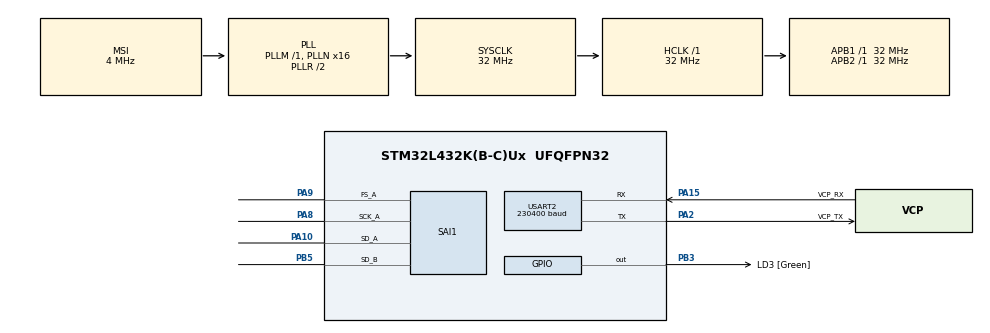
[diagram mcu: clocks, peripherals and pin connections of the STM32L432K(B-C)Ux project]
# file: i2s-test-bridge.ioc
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Mcu.Family=STM32L4
RCC.MSI_VALUE=4000000
RCC.CortexFreq_Value=32000000
SAI1.VirtualMode-SAI_A_AsyncSlave=VM_SLAVE
PA10.Mode=SAI_A_AsyncSlave
VP_SAI1_VP_$IpInstance_SAIA_SAI_BASIC.Mode=SAI_A_BASIC
PA0.GPIO_Label=MCO [High speed clock in]
SAI1.VirtualProtocol-SAI_A_BASIC=VM_BASIC_PROTOCOL
PC15-OSC32_OUT\ (PC15).Signal=RCC_OSC32_OUT
PA15\ (JTDI).Signal=USART2_RX
PB3\ (JTDO-TRACESWO).GPIO_Label=LD3 [Green]
PA14\ (JTCK-SWCLK).GPIO_Label=SWCLK
USART2.BaudRate=230400
RCC.SYSCLKSource=RCC_SYSCLKSOURCE_PLLCLK
ProjectManager.StackSize=0x400
PB3\ (JTDO-TRACESWO).Signal=GPIO_Output
SAI1.Instance-SAI_A_AsyncSlave=SAI$Index_Block_A
PA14\ (JTCK-SWCLK).Signal=SYS_JTCK-SWCLK
RCC.HSI16_VALUE=16000000
PA9.Mode=SAI_A_AsyncSlave
PA15\ (JTDI).Mode=Asynchronous
SAI1.VirtualMode-SAI_B_SyncSlave=VM_SLAVE
ProjectManager.TargetToolchain=STM32CubeIDE
RCC.HCLKFreq_Value=32000000
RCC.APB2TimFreq_Value=32000000
PA9.Signal=SAI1_FS_A
RCC.USBFreq_Value=32000000
RCC.LSE_VALUE=32768
RCC.AHBFreq_Value=32000000
VP_SAI1_VP_$IpInstance_SAIB_SAI_BASIC.Mode=SAI_B_BASIC
RCC.HSE_VALUE=8000000
board=NUCLEO-L432KC
USART2.VirtualMode-Asynchronous=VM_ASYNC
RCC.VCOOutputFreq_Value=64000000
RCC.PLLMUL=RCC_PLLMUL_4
RCC.APB2Freq_Value=32000000
PA13\ (JTMS-SWDIO).GPIO_Label=SWDIO
PB5.Mode=SAI_B_SyncSlave
RCC.ADCFreq_Value=32000000
PA8.Signal=SAI1_SCK_A
PA15\ (JTDI).GPIO_Label=VCP_RX
Mcu.Name=STM32L432K(B-C)Ux
PA2.Signal=USART2_TX
PA0.Signal=RCC_CK_IN
RCC.SYSCLKFreq_VALUE=32000000
Mcu.Package=UFQFPN32
PB5.Signal=SAI1_SD_B
PC14-OSC32_IN\ (PC14).Signal=RCC_OSC32_IN
SAI1.AudioMode-SAI_A_AsyncSlave=SAI_MODESLAVE_TX
PA2.GPIO_Label=VCP_TX
SAI1.Instance-SAI_B_SyncSlave=SAI$Index_Block_B
PA10.Signal=SAI1_SD_A
ProjectManager.HeapSize=0x200
RCC.HSI_VALUE=16000000
SAI1.InitProtocol-SAI_A_AsyncSlave=Enable
SAI1.VirtualProtocol-SAI_B_BASIC=VM_BASIC_PROTOCOL
NVIC.PriorityGroup=NVIC_PRIORITYGROUP_4
RCC.PLLN=16
RCC.APB1TimFreq_Value=32000000
PA2.Mode=Asynchronous
PA8.Mode=SAI_A_AsyncSlave
PA13\ (JTMS-SWDIO).Signal=SYS_JTMS-SWDIO
RCC.APB1Freq_Value=32000000
SAI1.InitProtocol-SAI_B_SyncSlave=Enable
RCC.HSI48_VALUE=48000000
RCC.PLLSAI1N=16

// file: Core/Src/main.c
/* USER CODE BEGIN Header */
/**
  ******************************************************************************
  * @file           : main.c
  * @brief          : Main program body
  ******************************************************************************
  * @attention
  *
  * <h2><center>&copy; Copyright (c) 2021 STMicroelectronics.
  * All rights reserved.</center></h2>
  *
  * This software component is licensed by ST under BSD 3-Clause license,
  * the "License"; You may not use this file except in compliance with the
  * License. You may obtain a copy of the License at:
  *                        opensource.org/licenses/BSD-3-Clause
  *
  ******************************************************************************
  */
/* USER CODE END Header */
#include "main.h"

/* USER CODE BEGIN Includes */
#include <stdio.h>
#include "SEGGER_RTT.h"
/* USER CODE END Includes */

SAI_HandleTypeDef hsai_BlockA1;
SAI_HandleTypeDef hsai_BlockB1;

UART_HandleTypeDef huart2;

void SystemClock_Config(void);
static void MX_GPIO_Init(void);
static void MX_SAI1_Init(void);
static void MX_USART2_UART_Init(void);

/* USER CODE BEGIN 0 */

#define I2S_FORWARDING_THRESHOLD_SAMPLES 60

// minimal ringbuffer with uin16_t values

#define RINGBUFFER_ELEMENTS 128

#define RINGBUFFER_MASK  (RINGBUFFER_ELEMENTS-1)

static uint16_t ringbuffer[RINGBUFFER_ELEMENTS];
static uint16_t ringbuffer_head;
static uint16_t ringbuffer_tail;

static void ringbuffer_init(void){
    ringbuffer_head = 0;
    ringbuffer_tail = 0;
}
static int ringbuffer_empty(void){
    return ringbuffer_head == ringbuffer_tail;
}
static int rinbuffer_avail(void){
    return (uint16_t) (ringbuffer_head - ringbuffer_tail);
}
static int ringbuffer_full(void){
    return (ringbuffer_head - ringbuffer_tail) == RINGBUFFER_MASK;
}
static void ringbuffer_put(uint16_t value){
    ringbuffer[ringbuffer_head& RINGBUFFER_MASK] = value;
    ringbuffer_head++;
}
static uint16_t ringbuffer_get(void){
    uint16_t value = ringbuffer[ringbuffer_tail & RINGBUFFER_MASK];
    ringbuffer_tail++;
    return value;
}

//

typedef  enum {
    IDLE,
    COUNTER,
    FORWARD,
    SINE_PCM_8K,
    SINE_PCM_16K,
    SINE_mSBC,
    SILENCE_PCM,
    SILENCE_mSBC,
} test_mode_t;

static test_mode_t i2s_tx_mode;
static test_mode_t uart_tx_mode;

typedef enum {
    I2S_LEFT_CHANNEL,
    I2S_RIGHT_CHANNEL,
    I2S_STEREO,
} i2s_channels_t;

static i2s_channels_t i2s_tx_channels = I2S_STEREO;

static enum {
    UART_TX_IDLE,
    UART_TX_SEND_HIGH,
    UART_TX_SEND_LOW,
} uart_tx_state = UART_TX_IDLE;

static enum {
    UART_RX_W4_HIGH,
    UART_RX_W4_LOW
} uart_rx_state = UART_RX_W4_HIGH;

// input signal: pre-computed sine wave, 266 Hz at 16000 Hz

static uint16_t i2s_tx_phase = 0;
static uint16_t uart_tx_phase = 0;

static const int16_t sine_int16_at_16000hz[] = {
        0,   3135,   6237,   9270,  12202,  14999,  17633,  20073,  22294,  24270,
        25980,  27406,  28531,  29344,  29835,  30000,  29835,  29344,  28531,  27406,
        25980,  24270,  22294,  20073,  17633,  14999,  12202,   9270,   6237,   3135,
        0,  -3135,  -6237,  -9270, -12202, -14999, -17633, -20073, -22294, -24270,
        -25980, -27406, -28531, -29344, -29835, -30000, -29835, -29344, -28531, -27406,
        -25980, -24270, -22294, -20073, -17633, -14999, -12202,  -9270,  -6237,  -3135,
};

// pre-encoded SCO mSBC packets with sine wave 266 Hz at 16000 Hz,
static const uint8_t sco_msbc_sine_data[] = {
        0x01, 0x08, 0xAD, 0x00, 0x00, 0x69, 0xE0, 0x21, 0x11, 0x00, 0x58, 0xEB, 0x91, 0x84, 0xEE,
        0xC8, 0xD1, 0x62, 0x8C, 0x6D, 0x7A, 0x95, 0x69, 0xBD, 0x23, 0xDC, 0x3C, 0xC9, 0x2E, 0xAD,
        0xCF, 0x7A, 0x6E, 0x24, 0xEA, 0x4D, 0x2F, 0x5B, 0x91, 0x42, 0xB6, 0x8D, 0x43, 0x3D, 0x6D,
        0x8A, 0x3C, 0xD1, 0xB1, 0xE0, 0x83, 0xCC, 0x7C, 0x79, 0x8A, 0x2B, 0x7E, 0x91, 0x30, 0x00,

        0x01, 0x38, 0xAD, 0x00, 0x00, 0x69, 0xE0, 0x21, 0x11, 0x00, 0x58, 0xEB, 0x91, 0x84, 0xEE,
        0xC8, 0xD1, 0x62, 0x8C, 0x6D, 0x7A, 0x95, 0x69, 0xBD, 0x23, 0xDC, 0x3C, 0xC9, 0x2E, 0xAD,
        0xCF, 0x7A, 0x6E, 0x24, 0xEA, 0x4D, 0x2F, 0x5B, 0x91, 0x42, 0xB6, 0x8D, 0x43, 0x3D, 0x6D,
        0x8A, 0x3C, 0xD1, 0xB1, 0xE0, 0x83, 0xCC, 0x7C, 0x79, 0x8A, 0x2B, 0x7E, 0x91, 0x30, 0x00,

        0x01, 0xC8, 0xAD, 0x00, 0x00, 0x69, 0xE0, 0x21, 0x11, 0x00, 0x58, 0xEB, 0x91, 0x84, 0xEE,
        0xC8, 0xD1, 0x62, 0x8C, 0x6D, 0x7A, 0x95, 0x69, 0xBD, 0x23, 0xDC, 0x3C, 0xC9, 0x2E, 0xAD,
        0xCF, 0x7A, 0x6E, 0x24, 0xEA, 0x4D, 0x2F, 0x5B, 0x91, 0x42, 0xB6, 0x8D, 0x43, 0x3D, 0x6D,
        0x8A, 0x3C, 0xD1, 0xB1, 0xE0, 0x83, 0xCC, 0x7C, 0x79, 0x8A, 0x2B, 0x7E, 0x91, 0x30, 0x00,

        0x01, 0xF8, 0xAD, 0x00, 0x00, 0x69, 0xE0, 0x21, 0x11, 0x00, 0x58, 0xEB, 0x91, 0x84, 0xEE,
        0xC8, 0xD1, 0x62, 0x8C, 0x6D, 0x7A, 0x95, 0x69, 0xBD, 0x23, 0xDC, 0x3C, 0xC9, 0x2E, 0xAD,
        0xCF, 0x7A, 0x6E, 0x24, 0xEA, 0x4D, 0x2F, 0x5B, 0x91, 0x42, 0xB6, 0x8D, 0x43, 0x3D, 0x6D,
        0x8A, 0x3C, 0xD1, 0xB1, 0xE0, 0x83, 0xCC, 0x7C, 0x79, 0x8A, 0x2B, 0x7E, 0x91, 0x30, 0x00,
};

// pre-encoded SCO mSBC packets with silence
static const uint8_t sco_msbc_silence_data[] = {
        0x01, 0x08, 0xAD, 0x00, 0x00, 0xC5, 0x00, 0x00, 0x00, 0x00, 0x77, 0x6D, 0xB6, 0xDD, 0xDB,
        0x6D, 0xB7, 0x76, 0xDB, 0x6D, 0xDD, 0xB6, 0xDB, 0x77, 0x6D, 0xB6, 0xDD, 0xDB, 0x6D, 0xB7,
        0x76, 0xDB, 0x6D, 0xDD, 0xB6, 0xDB, 0x77, 0x6D, 0xB6, 0xDD, 0xDB, 0x6D, 0xB7, 0x76, 0xDB,
        0x6D, 0xDD, 0xB6, 0xDB, 0x77, 0x6D, 0xB6, 0xDD, 0xDB, 0x6D, 0xB7, 0x76, 0xDB, 0x6C, 0x00,
        0x01, 0x38, 0xAD, 0x00, 0x00, 0xC5, 0x00, 0x00, 0x00, 0x00, 0x77, 0x6D, 0xB6, 0xDD, 0xDB,
        0x6D, 0xB7, 0x76, 0xDB, 0x6D, 0xDD, 0xB6, 0xDB, 0x77, 0x6D, 0xB6, 0xDD, 0xDB, 0x6D, 0xB7,
        0x76, 0xDB, 0x6D, 0xDD, 0xB6, 0xDB, 0x77, 0x6D, 0xB6, 0xDD, 0xDB, 0x6D, 0xB7, 0x76, 0xDB,
        0x6D, 0xDD, 0xB6, 0xDB, 0x77, 0x6D, 0xB6, 0xDD, 0xDB, 0x6D, 0xB7, 0x76, 0xDB, 0x6C, 0x00,
        0x01, 0xC8, 0xAD, 0x00, 0x00, 0xC5, 0x00, 0x00, 0x00, 0x00, 0x77, 0x6D, 0xB6, 0xDD, 0xDB,
        0x6D, 0xB7, 0x76, 0xDB, 0x6D, 0xDD, 0xB6, 0xDB, 0x77, 0x6D, 0xB6, 0xDD, 0xDB, 0x6D, 0xB7,
        0x76, 0xDB, 0x6D, 0xDD, 0xB6, 0xDB, 0x77, 0x6D, 0xB6, 0xDD, 0xDB, 0x6D, 0xB7, 0x76, 0xDB,
        0x6D, 0xDD, 0xB6, 0xDB, 0x77, 0x6D, 0xB6, 0xDD, 0xDB, 0x6D, 0xB7, 0x76, 0xDB, 0x6C, 0x00,
        0x01, 0xF8, 0xAD, 0x00, 0x00, 0xC5, 0x00, 0x00, 0x00, 0x00, 0x77, 0x6D, 0xB6, 0xDD, 0xDB,
        0x6D, 0xB7, 0x76, 0xDB, 0x6D, 0xDD, 0xB6, 0xDB, 0x77, 0x6D, 0xB6, 0xDD, 0xDB, 0x6D, 0xB7,
        0x76, 0xDB, 0x6D, 0xDD, 0xB6, 0xDB, 0x77, 0x6D, 0xB6, 0xDD, 0xDB, 0x6D, 0xB7, 0x76, 0xDB,
        0x6D, 0xDD, 0xB6, 0xDB, 0x77, 0x6D, 0xB6, 0xDD, 0xDB, 0x6D, 0xB7, 0x76, 0xDB, 0x6C, 0x00,
};

static void print_i2s_tx_mode(void){
    switch (i2s_tx_mode) {
        case FORWARD:
            printf("I2S TX:  Forward data from UART\n");
            break;
        case SINE_PCM_8K:
            printf("I2S TX:  Sine 266 Hz, 8 kHz, PCM\n");
            break;
        case SINE_PCM_16K:
            printf("I2S TX:  Sine 266 Hz, 16 kHz, PCM\n");
            break;
        case SINE_mSBC:
            printf("I2S TX:  Sine mSBC\n");
            break;
        case SILENCE_PCM:
            printf("I2S TX:  Silence PCM\n");
            break;
        case SILENCE_mSBC:
            printf("I2S TX:  Silence mSBC\n");
            break;
        default:
            break;
    }
}

static void print_i2s_tx_channels(void){
    switch (i2s_tx_channels){
        case I2S_LEFT_CHANNEL:
            printf("I2S TX:  TX on Channel 1 / left\n");
            break;
        case I2S_RIGHT_CHANNEL:
            printf("I2S TX:  TX on Channel 2 / right\n");
            break;
        case I2S_STEREO:
            printf("I2S TX:  TX on both channels\n");
            break;
        default:
            break;
    }
}

static void print_uart_tx_mode(void){
    switch (uart_tx_mode) {
        case COUNTER:
            printf("UART TX: Test Data Counter\n");
            break;
        case FORWARD:
            printf("UART TX: Forward data from I2S\n");
            break;
        case SINE_PCM_8K:
            printf("UART TX: Sine 266 Hz, 8 kHz, PCM\n");
            break;
        case SINE_PCM_16K:
            printf("UART TX: Sine 266 Hz, 16 kHz, PCM\n");
            break;
        case SINE_mSBC:
            printf("UART TX: Sine mSBC\n");
            break;
        case SILENCE_PCM:
            printf("UART TX: Silence CVSD\n");
            break;
        case SILENCE_mSBC:
            printf("UART TX: Silence mSBC\n");
            break;
        default:
            break;
    }
}

static void set_uart_tx_mode(test_mode_t mode){
    uart_tx_mode = mode;
    print_i2s_tx_mode();
}

static void handle_console_input(char c){
    switch (c) {
        // I2S TX
        case '1':
        case '2':
        case '3':
        case '4':
        case '5':
        case '6':
            i2s_tx_mode = (test_mode_t )(c - '1' + (int)FORWARD);
            print_i2s_tx_mode();
            break;
        // UART TX
        case 'a':
        case 'b':
        case 'c':
        case 'd':
        case 'e':
        case 'f':
        case 'g':
            uart_tx_mode = (test_mode_t )(c - 'a' + (int)FORWARD);
            print_uart_tx_mode();
            break;
        case '[':
            i2s_tx_channels = I2S_LEFT_CHANNEL;
            print_i2s_tx_channels();
            break;
        case ']':
            i2s_tx_channels = I2S_RIGHT_CHANNEL;
            print_i2s_tx_channels();
            break;
        case '-':
            i2s_tx_channels = I2S_STEREO;
            print_i2s_tx_channels();
            break;
        default:
            break;
    }
    i2s_tx_phase = 0;
    uart_tx_phase = 0;
}

/* USER CODE END 0 */

int main(void)
{

    /* MCU Configuration--------------------------------------------------------*/

    /* Reset of all peripherals, Initializes the Flash interface and the Systick. */
    HAL_Init();

    /* Configure the system clock */
    SystemClock_Config();

    /* Initialize all configured peripherals */
    MX_GPIO_Init();
    MX_SAI1_Init();
    MX_USART2_UART_Init();
    /* USER CODE BEGIN 2 */
    printf("\n\n");
    printf("=== I2S Test Bridge Console ===\n");
    printf("1 - I2S  TX Forward UART data\n");
    printf("2 - I2S  TX Sine    PCM   8 kHz/16 bit, 266 Hz\n");
    printf("3 - I2S  TX Sine    PCM  16 kHz/16 bit, 266 Hz\n");
    printf("4 - I2S  TX Sine    mSBC 16 kHz/16 bit, 266 Hz\n");
    printf("5 - I2S  TX Silence PCM         16 bit\n");
    printf("6 - I2S  TX Silence mSBC 16 kHz/16 bit\n");

    printf("[ = I2S  TX on Channel 1 / Left \n");
    printf("] = I2S  TX on Channel 2 / Right \n");
    printf("- = I2S  TX on both channels\n");

    printf("a - UART TX Forward Left I2S Channel data\n");
    printf("b - UART TX Sine    PCM   8 kHz/16 bit, 266 Hz\n");
    printf("c - UART TX Sine    PCM  16 kHz/16 bit, 266 Hz\n");
    printf("d - UART TX Sine    mSBC 16 kHz/16 bit, 266 Hz\n");
    printf("e - UART TX Silence PCM         16 bit\n");
    printf("f - UART TX Silence mSBC 16 kHz/16 bit\n");
    printf("g - UART TX Test Data Counter\n");

    // Default Config
    i2s_tx_mode  = FORWARD;
    uart_tx_mode = FORWARD;

    printf("---\n");
    print_i2s_tx_mode();
    print_i2s_tx_channels();
    print_uart_tx_mode();
    __HAL_SAI_ENABLE( &hsai_BlockA1);
    __HAL_SAI_ENABLE( &hsai_BlockB1);
    __HAL_UART_ENABLE(&huart2);
    /* USER CODE END 2 */

    /* Infinite loop */
    /* USER CODE BEGIN WHILE */
    uint8_t i2s_rx_left_frame = 1;
    uint8_t i2s_tx_left_frame = 1;
    uint16_t i2s_tx_value = 0;
    uint16_t uart_tx_value;
    uint16_t uart_rx_value;
    int      forwarding_active = 0;
    uint32_t last_i2s_rx_ms;

    while (1) {

        // RTT console
        int rtt_input = SEGGER_RTT_HasData(0);
        if (rtt_input > 0) {
            int rtt_key = SEGGER_RTT_GetKey();
            handle_console_input( (char) rtt_key);
        }

        // Receive from I2S
        if ((hsai_BlockB1.Instance->SR & SAI_xSR_FLVL) != SAI_FIFOSTATUS_EMPTY){
            last_i2s_rx_ms = HAL_GetTick();
            if (i2s_rx_left_frame) {
                uint32_t temp = hsai_BlockB1.Instance->DR;
                switch (uart_tx_mode){
                    case FORWARD:
                        uart_tx_value = (uint16_t) temp;
                        break;
                    case COUNTER:
                        uart_tx_value = uart_tx_phase;
                        uart_tx_phase++;
                        if (uart_tx_phase == 60){
                            uart_tx_phase = 0;
                        }
                        break;
                    case SINE_PCM_8K:
                        // 8 kHz, 16 bit
                        uart_tx_value = (uint16_t) sine_int16_at_16000hz[uart_tx_phase];
                        uart_tx_phase += 2;
                        if (uart_tx_phase >= (sizeof(sine_int16_at_16000hz) / sizeof(int16_t))){
                            uart_tx_phase = 0;
                        }
                        break;
                    case SINE_PCM_16K:
                        // 8 kHz, 16 bit
                        uart_tx_value = (uint16_t) sine_int16_at_16000hz[uart_tx_phase];
                        uart_tx_phase += 1;
                        if (uart_tx_phase >= (sizeof(sine_int16_at_16000hz) / sizeof(int16_t))){
                            uart_tx_phase = 0;
                        }
                        break;
                    case SILENCE_PCM:
                        uart_tx_value = 0;
                        break;
                    case SINE_mSBC:
                        // pre-encoded mSBC data
                        uart_tx_value = sco_msbc_sine_data[uart_tx_phase++];
                        if (uart_tx_phase >= (sizeof(sco_msbc_sine_data) / sizeof(uint8_t))){
                            uart_tx_phase = 0;
                        }
                        break;
                    case SILENCE_mSBC:
                        // pre-encoded mSBC data
                        uart_tx_value = sco_msbc_silence_data[uart_tx_phase++];
                        if (uart_tx_phase >= (sizeof(sco_msbc_silence_data) / sizeof(uint8_t))){
                            uart_tx_phase = 0;
                        }
                        break;
                    default:
                        break;
                }
                uart_tx_state = UART_TX_SEND_HIGH;
                i2s_rx_left_frame = 0;
            } else {
                (void) hsai_BlockB1.Instance->DR;
                i2s_rx_left_frame = 1;
            }
        }

        // Send to UART
        if ((__HAL_UART_GET_FLAG(&huart2, UART_FLAG_TXE)) == SET){
            switch(uart_tx_state){
                case UART_TX_SEND_HIGH:
                    huart2.Instance->TDR = (uint8_t) (uart_tx_value >> 8);
                    uart_tx_state = UART_TX_SEND_LOW;
                    break;
                case UART_TX_SEND_LOW:
                    huart2.Instance->TDR = (uint8_t) (uart_tx_value & 0xff);
                    uart_tx_state = UART_TX_IDLE;
                    break;
                default:
                    break;
            }
        }

        // Receive from UART
        if ((__HAL_UART_GET_FLAG(&huart2, UART_FLAG_RXNE)) == SET){
            switch (uart_rx_state){
                case UART_RX_W4_HIGH:
                    uart_rx_value = (huart2.Instance->RDR & 0xff) << 8;
                    uart_rx_state = UART_RX_W4_LOW;
                    break;
                case UART_RX_W4_LOW:
                    uart_rx_value |= (huart2.Instance->RDR & 0xff);
                    if (ringbuffer_full()){
                        printf("TX Overflow!\n");
                    } else {
                        ringbuffer_put(uart_rx_value);
                    }
                    uart_rx_state = UART_RX_W4_HIGH;
                    break;
                default:
                    break;
            }
        }

        // I2S TX
        if ((hsai_BlockA1.Instance->SR & SAI_xSR_FLVL) != SAI_FIFOSTATUS_FULL){
            // update i2x tx value on left frame
            if (i2s_tx_left_frame) {
                switch (i2s_tx_mode){
                    case SINE_PCM_8K:
                        // 8 kHz, 16 bit
                        i2s_tx_value = (uint16_t) sine_int16_at_16000hz[i2s_tx_phase];
                        i2s_tx_phase += 2;
                        if (i2s_tx_phase >= (sizeof(sine_int16_at_16000hz) / sizeof(int16_t))){
                            i2s_tx_phase = 0;
                        }
                        break;
                    case SINE_PCM_16K:
                        // 8 kHz, 16 bit
                        i2s_tx_value = (uint16_t) sine_int16_at_16000hz[i2s_tx_phase];
                        i2s_tx_phase += 1;
                        if (i2s_tx_phase >= (sizeof(sine_int16_at_16000hz) / sizeof(int16_t))){
                            i2s_tx_phase = 0;
                        }
                        break;
                    case SILENCE_PCM:
                        i2s_tx_value = 0;
                        break;
                    case SINE_mSBC:
                        // pre-encoded mSBC data
                        i2s_tx_value = sco_msbc_sine_data[i2s_tx_phase++];
                        if (i2s_tx_phase >= (sizeof(sco_msbc_sine_data) / sizeof(uint8_t))){
                            i2s_tx_phase = 0;
                        }
                        break;
                    case SILENCE_mSBC:
                        // pre-encoded mSBC data
                        i2s_tx_value = sco_msbc_silence_data[i2s_tx_phase++];
                        if (i2s_tx_phase >= (sizeof(sco_msbc_silence_data) / sizeof(uint8_t))){
                            i2s_tx_phase = 0;
                        }
                        break;
                    case FORWARD:
                        // hysteresis
                        if (forwarding_active == 0){
                            if (rinbuffer_avail() >= I2S_FORWARDING_THRESHOLD_SAMPLES){
                                printf("UART -> I2S Forwarding started\n");
                                forwarding_active = 1;
                            }
                        }
                        if (forwarding_active){
                            if (ringbuffer_empty()){
                                forwarding_active = 0;
                                printf("UART -> I2S Forwarding stopped (underrun)\n");
                            } else {
                                i2s_tx_value = ringbuffer_get();
                            }
                        }
                        break;
                    default:
                        break;
                }
            }

            // send this frame based on tx channel selection
            int send_this_frame = 0;
            switch (i2s_tx_channels){
                case I2S_LEFT_CHANNEL:
                    send_this_frame = i2s_tx_left_frame == 1;
                    break;
                case I2S_RIGHT_CHANNEL:
                    send_this_frame = i2s_tx_left_frame == 0;
                    break;
                case I2S_STEREO:
                    send_this_frame = 1;
                    break;
                default:
                    break;
            }
            if (send_this_frame){
                hsai_BlockA1.Instance->DR = i2s_tx_value;
            } else {
                hsai_BlockA1.Instance->DR = 0;
            }

            i2s_tx_left_frame = 1 - i2s_tx_left_frame;
        }

        // reset state if I2S Stopped
        if (forwarding_active){
            uint32_t delta_ms = (uint32_t)(HAL_GetTick() - last_i2s_rx_ms);
            if (delta_ms > 100){
                i2s_tx_left_frame = 1;
                i2s_rx_left_frame = 1;
                ringbuffer_init();
                forwarding_active = 0;
                uart_rx_state = UART_RX_W4_HIGH;
                printf("UART -> I2S Forwarding stopped (I2S stopped)\n");
            }
        }

        /* USER CODE END WHILE */

    }
}

void SystemClock_Config(void)
{
    RCC_OscInitTypeDef RCC_OscInitStruct = {0};
    RCC_ClkInitTypeDef RCC_ClkInitStruct = {0};
    RCC_PeriphCLKInitTypeDef PeriphClkInit = {0};

    /** Initializes the RCC Oscillators according to the specified parameters
    * in the RCC_OscInitTypeDef structure.
    */
    RCC_OscInitStruct.OscillatorType = RCC_OSCILLATORTYPE_MSI;
    RCC_OscInitStruct.MSIState = RCC_MSI_ON;
    RCC_OscInitStruct.MSICalibrationValue = 0;
    RCC_OscInitStruct.MSIClockRange = RCC_MSIRANGE_6;
    RCC_OscInitStruct.PLL.PLLState = RCC_PLL_ON;
    RCC_OscInitStruct.PLL.PLLSource = RCC_PLLSOURCE_MSI;
    RCC_OscInitStruct.PLL.PLLM = 1;
    RCC_OscInitStruct.PLL.PLLN = 16;
    RCC_OscInitStruct.PLL.PLLP = RCC_PLLP_DIV7;
    RCC_OscInitStruct.PLL.PLLQ = RCC_PLLQ_DIV2;
    RCC_OscInitStruct.PLL.PLLR = RCC_PLLR_DIV2;
    if (HAL_RCC_OscConfig(&RCC_OscInitStruct) != HAL_OK)
    {
        Error_Handler();
    }
    /** Initializes the CPU, AHB and APB buses clocks
    */
    RCC_ClkInitStruct.ClockType = RCC_CLOCKTYPE_HCLK|RCC_CLOCKTYPE_SYSCLK
                                  |RCC_CLOCKTYPE_PCLK1|RCC_CLOCKTYPE_PCLK2;
    RCC_ClkInitStruct.SYSCLKSource = RCC_SYSCLKSOURCE_PLLCLK;
    RCC_ClkInitStruct.AHBCLKDivider = RCC_SYSCLK_DIV1;
    RCC_ClkInitStruct.APB1CLKDivider = RCC_HCLK_DIV1;
    RCC_ClkInitStruct.APB2CLKDivider = RCC_HCLK_DIV1;

    if (HAL_RCC_ClockConfig(&RCC_ClkInitStruct, FLASH_LATENCY_1) != HAL_OK)
    {
        Error_Handler();
    }
    PeriphClkInit.PeriphClockSelection = RCC_PERIPHCLK_USART2|RCC_PERIPHCLK_SAI1;
    PeriphClkInit.Usart2ClockSelection = RCC_USART2CLKSOURCE_PCLK1;
    PeriphClkInit.Sai1ClockSelection = RCC_SAI1CLKSOURCE_PLLSAI1;
    PeriphClkInit.PLLSAI1.PLLSAI1Source = RCC_PLLSOURCE_MSI;
    PeriphClkInit.PLLSAI1.PLLSAI1M = 1;
    PeriphClkInit.PLLSAI1.PLLSAI1N = 16;
    PeriphClkInit.PLLSAI1.PLLSAI1P = RCC_PLLP_DIV7;
    PeriphClkInit.PLLSAI1.PLLSAI1Q = RCC_PLLQ_DIV2;
    PeriphClkInit.PLLSAI1.PLLSAI1R = RCC_PLLR_DIV2;
    PeriphClkInit.PLLSAI1.PLLSAI1ClockOut = RCC_PLLSAI1_SAI1CLK;
    if (HAL_RCCEx_PeriphCLKConfig(&PeriphClkInit) != HAL_OK)
    {
        Error_Handler();
    }
    /** Configure the main internal regulator output voltage
    */
    if (HAL_PWREx_ControlVoltageScaling(PWR_REGULATOR_VOLTAGE_SCALE1) != HAL_OK)
    {
        Error_Handler();
    }
}

static void MX_SAI1_Init(void)
{

    hsai_BlockA1.Instance = SAI1_Block_A;
    hsai_BlockA1.Init.AudioMode = SAI_MODESLAVE_TX;
    hsai_BlockA1.Init.Synchro = SAI_ASYNCHRONOUS;
    hsai_BlockA1.Init.OutputDrive = SAI_OUTPUTDRIVE_DISABLE;
    hsai_BlockA1.Init.FIFOThreshold = SAI_FIFOTHRESHOLD_EMPTY;
    hsai_BlockA1.Init.SynchroExt = SAI_SYNCEXT_DISABLE;
    hsai_BlockA1.Init.MonoStereoMode = SAI_STEREOMODE;
    hsai_BlockA1.Init.CompandingMode = SAI_NOCOMPANDING;
    hsai_BlockA1.Init.TriState = SAI_OUTPUT_NOTRELEASED;
    if (HAL_SAI_InitProtocol(&hsai_BlockA1, SAI_I2S_STANDARD, SAI_PROTOCOL_DATASIZE_16BIT, 2) != HAL_OK)
    {
        Error_Handler();
    }
    hsai_BlockB1.Instance = SAI1_Block_B;
    hsai_BlockB1.Init.AudioMode = SAI_MODESLAVE_RX;
    hsai_BlockB1.Init.Synchro = SAI_SYNCHRONOUS;
    hsai_BlockB1.Init.OutputDrive = SAI_OUTPUTDRIVE_DISABLE;
    hsai_BlockB1.Init.FIFOThreshold = SAI_FIFOTHRESHOLD_EMPTY;
    hsai_BlockB1.Init.SynchroExt = SAI_SYNCEXT_DISABLE;
    hsai_BlockB1.Init.MonoStereoMode = SAI_STEREOMODE;
    hsai_BlockB1.Init.CompandingMode = SAI_NOCOMPANDING;
    hsai_BlockB1.Init.TriState = SAI_OUTPUT_NOTRELEASED;
    if (HAL_SAI_InitProtocol(&hsai_BlockB1, SAI_I2S_STANDARD, SAI_PROTOCOL_DATASIZE_16BIT, 2) != HAL_OK)
    {
        Error_Handler();
    }

}

static void MX_USART2_UART_Init(void)
{

    huart2.Instance = USART2;
    huart2.Init.BaudRate = 230400;
    huart2.Init.WordLength = UART_WORDLENGTH_8B;
    huart2.Init.StopBits = UART_STOPBITS_1;
    huart2.Init.Parity = UART_PARITY_NONE;
    huart2.Init.Mode = UART_MODE_TX_RX;
    huart2.Init.HwFlowCtl = UART_HWCONTROL_NONE;
    huart2.Init.OverSampling = UART_OVERSAMPLING_16;
    huart2.Init.OneBitSampling = UART_ONE_BIT_SAMPLE_DISABLE;
    huart2.AdvancedInit.AdvFeatureInit = UART_ADVFEATURE_NO_INIT;
    if (HAL_UART_Init(&huart2) != HAL_OK)
    {
        Error_Handler();
    }

}

static void MX_GPIO_Init(void)
{
    GPIO_InitTypeDef GPIO_InitStruct = {0};

    /* GPIO Ports Clock Enable */
    __HAL_RCC_GPIOC_CLK_ENABLE();
    __HAL_RCC_GPIOA_CLK_ENABLE();
    __HAL_RCC_GPIOB_CLK_ENABLE();

    /*Configure GPIO pin Output Level */
    HAL_GPIO_WritePin(LD3_GPIO_Port, LD3_Pin, GPIO_PIN_RESET);

    /*Configure GPIO pin : LD3_Pin */
    GPIO_InitStruct.Pin = LD3_Pin;
    GPIO_InitStruct.Mode = GPIO_MODE_OUTPUT_PP;
    GPIO_InitStruct.Pull = GPIO_NOPULL;
    GPIO_InitStruct.Speed = GPIO_SPEED_FREQ_LOW;
    HAL_GPIO_Init(LD3_GPIO_Port, &GPIO_InitStruct);

}

void Error_Handler(void)
{
    __disable_irq();
    while (1) {
    }
}

/************************ (C) COPYRIGHT STMicroelectronics *****END OF FILE****/
